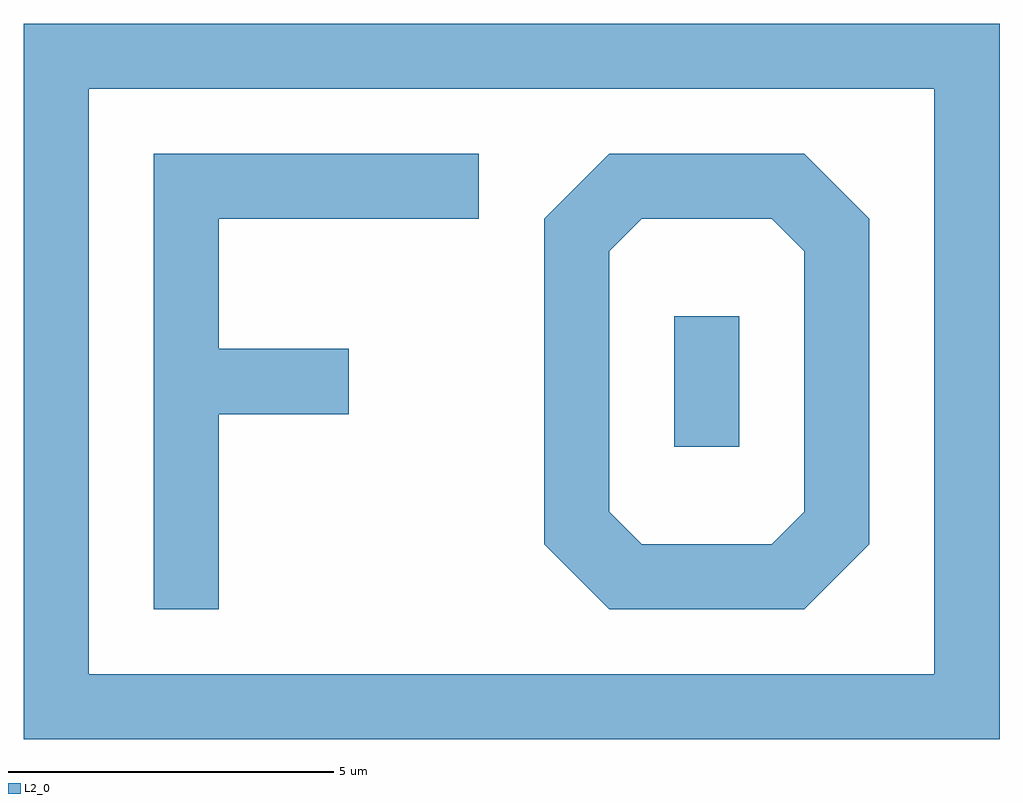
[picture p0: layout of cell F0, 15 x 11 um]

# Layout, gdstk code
import gdstk
lib = gdstk.Library(unit=1e-6, precision=1e-08)
def R(c, l, rs):  # rectangles x0, y0, x1, y1
    for r in rs: c.add(gdstk.rectangle(r[:2], r[2:], *l))
def P(c, l, *ps):  # polygons
    for p in ps: c.add(gdstk.Polygon(p, *l))
L2_0 = (2, 0)

text = lib.new_cell('TEXT')
R(text, L2_0, [(8,2.5,9,4.5)])
P(text, L2_0, [(0,0),(0,7),(5,7),(5,6),(1,6),(1,4),(3,4),(3,3),(1,3),(1,0)],
  [(7,0),(6,1),(6,6),(7,7),(10,7),(11,6),(7.5,6),(7,5.5),(7,1.5),(7.5,1),(9.5,1),(10,1.5),(10,5.5),(9.5,6),(11,6),(11,1),(10,0)])

c_f0 = lib.new_cell('F0')
c_f0.add(gdstk.FlexPath([(0.5,0.5),(0.5,10.5),(14.5,10.5),(14.5,0.5),(0.5,0.5)], 1, ends="extended", simple_path=True, layer=2, datatype=0))  # L2_0
c_f0.add(gdstk.Reference(text, (2,2)))

lib.write_gds('F0.gds')
